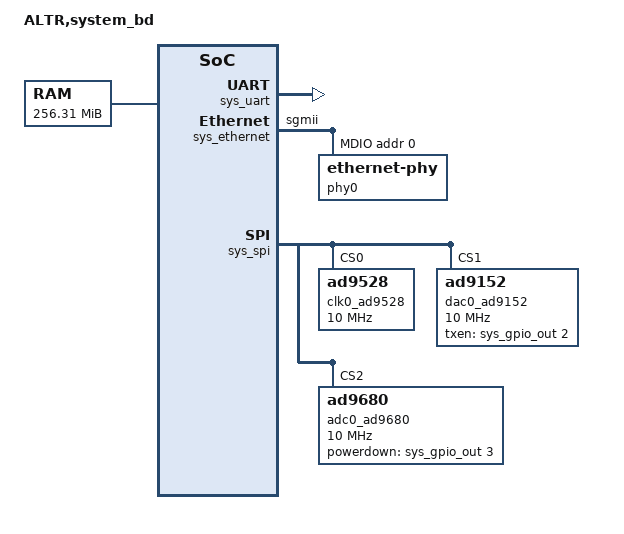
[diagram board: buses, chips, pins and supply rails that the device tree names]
/dts-v1/;

/ {
	model = "ALTR,system_bd";
	compatible = "ALTR,system_bd";
	#address-cells = <1>;
	#size-cells = <1>;

	cpus {
		#address-cells = <1>;
		#size-cells = <0>;

		sys_cpu: cpu@0x0 {
			device_type = "cpu";
			compatible = "altr,nios2-16.0", "altr,nios2-1.1";
			reg = <0x00000000>;
			interrupt-controller;
			#interrupt-cells = <1>;
			altr,exception-addr = <3221225504>;
			altr,fast-tlb-miss-addr = <3491762176>;
			altr,has-initda = <1>;
			altr,has-mmu = <1>;
			altr,has-mul = <1>;
			altr,implementation = "fast";
			altr,pid-num-bits = <8>;
			altr,reset-addr = <3221225472>;
			altr,tlb-num-entries = <128>;
			altr,tlb-num-ways = <16>;
			altr,tlb-ptr-sz = <7>;
			clock-frequency = <100000000>;
			dcache-line-size = <32>;
			dcache-size = <32768>;
			icache-line-size = <32>;
			icache-size = <32768>;
		};
	};

	memory {
		device_type = "memory";
		reg = <0x00000000 0x10000000>,
			<0x10140000 0x00028000>,
			<0x10200000 0x00028000>;
	};

	sopc0: sopc@0 {
		device_type = "soc";
		ranges;
		#address-cells = <1>;
		#size-cells = <1>;
		compatible = "ALTR,avalon", "simple-bus";
		bus-frequency = <100000000>;

		sys_uart: serial@0x101814f0 {
			compatible = "altr,juart-16.0", "altr,juart-1.0";
			reg = <0x101814f0 0x00000008>;
			interrupt-parent = <&sys_cpu>;
			interrupts = <2>;
		};

		sys_ethernet: ethernet@0x10181000 {
			compatible = "altr,tse-msgdma-16.0", "altr,tse-msgdma-1.0", "altr,tse-1.0";
			reg = <0x10181000 0x00000400>,
				<0x101814a0 0x00000020>,
				<0x10181440 0x00000020>,
				<0x101814e0 0x00000008>,
				<0x10181480 0x00000020>,
				<0x10181460 0x00000020>;
			reg-names = "control_port", "rx_csr", "rx_desc", "rx_resp", "tx_csr", "tx_desc";
			interrupt-parent = <&sys_cpu>;
			interrupts = <0 1>;
			interrupt-names = "rx_irq", "tx_irq";
			ALTR,rx-fifo-depth = <4096>;
			ALTR,tx-fifo-depth = <4096>;
			rx-fifo-depth = <16384>;
			tx-fifo-depth = <16384>;
			address-bits = <48>;
			max-frame-size = <1518>;
			local-mac-address = [B2 94 3D 6E 11 8F];
			altr,enable-sup-addr = <0>;
			altr,enable-hash = <0>;
			phy-mode = "sgmii";

			sys_ethernet_mdio: mdio {
				compatible = "altr,tse-mdio";
				#address-cells = <1>;
				#size-cells = <0>;
				phy0: ethernet-phy@0 {
					reg = <0>;
					device_type = "ethernet-phy";
				};
			};
		};

		sys_id: sysid@0x101814e8 {
			compatible = "altr,sysid-16.0", "altr,sysid-1.0";
			reg = <0x101814e8 0x00000008>;
			id = <182193580>;
			timestamp = <1496944369>;
		};

		sys_timer_1: timer@0x10181420 {
			compatible = "altr,timer-16.0", "altr,timer-1.0";
			reg = <0x10181420 0x00000020>;
			interrupt-parent = <&sys_cpu>;
			interrupts = <4>;
			clock-frequency = <100000000>;
		};

		sys_timer_2: timer@0x10181520 {
			compatible = "altr,timer-16.0", "altr,timer-1.0";
			reg = <0x10181520 0x00000020>;
			interrupt-parent = <&sys_cpu>;
			interrupts = <3>;
			clock-frequency = <100000000>;
		};

		sys_gpio_bd: gpio@0x101814d0 {
			compatible = "altr,pio-16.0", "altr,pio-1.0";
			reg = <0x101814d0 0x00000010>;
			interrupt-parent = <&sys_cpu>;
			interrupts = <6>;
			altr,gpio-bank-width = <32>;
			altr,interrupt-type = <4>;
			altr,interrupt_type = <4>;
			level_trigger = <1>;
			resetvalue = <0>;
			#gpio-cells = <2>;
			gpio-controller;
		};

		sys_gpio_in: gpio@0x101814c0 {
			compatible = "altr,pio-16.0", "altr,pio-1.0";
			reg = <0x101814c0 0x00000010>;
			interrupt-parent = <&sys_cpu>;
			interrupts = <5>;
			altr,gpio-bank-width = <32>;
			altr,interrupt-type = <4>;
			altr,interrupt_type = <4>;
			level_trigger = <1>;
			resetvalue = <0>;
			#gpio-cells = <2>;
			gpio-controller;
		};

		sys_gpio_out: gpio@0x10181500 {
			compatible = "altr,pio-16.0", "altr,pio-1.0";
			reg = <0x10181500 0x00000010>;
			altr,gpio-bank-width = <32>;
			resetvalue = <0>;
			#gpio-cells = <2>;
			gpio-controller;
		};

		clocks {
			axi_ad9152_jesd: clock@0 {
				#clock-cells = <0>;
				compatible = "fixed-clock";
				clock-frequency = <1000000000>;
				clock-output-names = "jesd_dac_clk";
			};

			axi_ad9680_jesd: clock@1 {
				#clock-cells = <0>;
				compatible = "fixed-clock";
				clock-frequency = <1000000000>;
				clock-output-names = "jesd_adc_clk";
			};

			axi_dmac0_clkin: clock@2 {
				#clock-cells = <0>;
				compatible = "fixed-clock";
				clock-frequency = <250000000>;
				clock-output-names = "axi_dmac0_clkin";
			};

			axi_dmac1_clkin: clock@3 {
				#clock-cells = <0>;
				compatible = "fixed-clock";
				clock-frequency = <250000000>;
				clock-output-names = "axi_dmac1_clkin";
			};
		};

		axi_ad9152_dma: axi_ad9152_dma@0x1040c000 {
			compatible = "adi,axi-dmac-1.00.a";
			reg = <0x1040c000 0x00004000>;
			interrupt-parent = <&sys_cpu>;
			interrupts = <11>;
			#dma-cells = <1>;
			clocks = <&axi_dmac1_clkin>;
			clock-names = "axi_dmac1_clkin";
			dma-channel {
				adi,source-bus-width = <128>;
				adi,destination-bus-width = <128>;
				adi,type = <1>;
				adi,cyclic;
			};
		};

		axi_ad9152_core: axi-ad9152-hpc@0x10424000 {
			compatible = "adi,axi-ad9144-1.0";
			reg = <0x10424000 0x00010000>;
			dmas = <&axi_ad9152_dma 0>;
			dma-names = "tx";
			spibus-connected = <&dac0_ad9152>;
		};

		axi_ad9680_dma: axi_ad9680_dma@0x1050c000 {
			compatible = "adi,axi-dmac-1.00.a";
			reg = <0x1050c000 0x00004000>;
			interrupt-parent = <&sys_cpu>;
			interrupts = <10>;
			#dma-cells = <1>;
			clocks = <&axi_dmac0_clkin>;
			clock-names = "axi_dmac0_clkin";
			dma-channel {
				adi,source-bus-width = <128>;
				adi,destination-bus-width = <128>;
				adi,type = <0>;
			};
		};

		axi_ad9680_core: axi-ad9680-hpc@0x10520000 {
			compatible = "adi,axi-ad9680-1.0";
			reg = <0x10520000 0x00010000>;
			dmas = <&axi_ad9680_dma 0>;
			dma-names = "rx";
			spibus-connected = <&adc0_ad9680>;
		};


		axi_ad9152_xcvr: axi_ad9152_xcvr@0x10410000 {
			compatible = "adi,altera-adxcvr-1.00.a";
			reg = <0x10410000 0x00010000>,
				<0x10402000 0x00001000>,
				<0x10404000 0x00001000>,
				<0x10405000 0x00001000>,
				<0x10406000 0x00001000>,
				<0x10407000 0x00001000>;
			reg-names = "adxcvr", "atx-pll", "adxcfg-0", "adxcfg-1", "adxcfg-2", "adxcfg-3";
			adi,delay-work-seconds = <1>;
			adi,tx-enable;
			adi,link-number = <0>;
			adi,lanes-per-link = <4>;
		};


		axi_ad9680_xcvr: axi_ad9680_xcvr@0x10510000 {
			compatible = "adi,altera-adxcvr-1.00.a";
			reg = <0x10510000 0x00010000>,
				<0x10504000 0x00001000>,
				<0x10505000 0x00001000>,
				<0x10506000 0x00001000>,
				<0x10507000 0x00001000>;
			reg-names = "adxcvr", "adxcfg-0", "adxcfg-1", "adxcfg-2", "adxcfg-3";
			adi,delay-work-seconds = <1>;
			adi,rx-enable;
			adi,link-number = <0>;
			adi,lanes-per-link = <4>;
		};


		sys_spi: spi@0x10181400 {
			compatible = "altr,spi-16.0", "altr,spi-1.0";
			reg = <0x10181400 0x00000020>;
			interrupt-parent = <&sys_cpu>;
			interrupts = <7>;

			#address-cells = <1>;
			#size-cells = <0>;

			clk0_ad9528: ad9528-1@0 {
				#address-cells = <1>;
				#size-cells = <0>;
				#clock-cells = <1>;
				compatible = "ad9528";

				spi-max-frequency = <10000000>;
				adi,spi-3wire-enable;
				reg = <0>;

				clock-output-names = "ad9528-1_out0", "ad9528-1_out1", "ad9528-1_out2", "ad9528-1_out3", "ad9528-1_out4", "ad9528-1_out5", "ad9528-1_out6", "ad9528-1_out7", "ad9528-1_out8", "ad9528-1_out9", "ad9528-1_out10", "ad9528-1_out11", "ad9528-1_out12", "ad9528-1_out13";
				adi,vcxo-freq = <125000000>;

				/* PLL1 config */
				adi,pll1-bypass-enable;
				adi,osc-in-diff-enable;

				/* PLL2 config for VCO = 4000MHz, N = 32*/
				adi,pll2-ndiv-a-cnt = <0>; /* a = N % 4 */
				adi,pll2-ndiv-b-cnt = <8>; /* b = N / 4 */

				adi,pll2-vco-diff-m1 = <4>;

				adi,pll2-n2-div = <8>; /* N / M1 */
				adi,pll2-r1-div = <1>;

				adi,pll2-charge-pump-current-nA = <35000>;

				/* SYSREF config */
				adi,sysref-src = <2>;
				adi,sysref-k-div = <8>;

				adi,rpole2 = <0>;
				adi,rzero = <7>;
				adi,cpole1 = <2>;

				ad9528_0_c13: channel@13 {
					reg = <13>;
					adi,extended-name = "ADC_CLK";
					adi,driver-mode = <0>;
					adi,divider-phase = <0>;
					adi,channel-divider = <1>;
					adi,signal-source = <0>;
				};

				ad9528_0_c2: channel@2 {
					reg = <2>;
					adi,extended-name = "DAC_CLK";
					adi,driver-mode = <0>;
					adi,divider-phase = <0>;
					adi,channel-divider = <1>;
					adi,signal-source = <0>;
				};

				ad9528_0_c4: channel@4 {
					reg = <4>;
					adi,extended-name = "ADC_CLK_FMC";
					adi,driver-mode = <0>;
					adi,divider-phase = <0>;
					adi,channel-divider = <2>;
					adi,signal-source = <0>;
				};

				ad9528_0_c5: channel@5 {
					reg = <5>;
					adi,extended-name = "ADC_SYSREF";
					adi,driver-mode = <0>;
					adi,divider-phase = <0>;
					adi,channel-divider = <1>;
					adi,signal-source = <2>;
				};

				ad9528_0_c6: channel@6 {
					reg = <6>;
					adi,extended-name = "CLKD_ADC_SYSREF";
					adi,driver-mode = <0>;
					adi,divider-phase = <0>;
					adi,channel-divider = <2>;
					adi,signal-source = <2>;
				};

				ad9528_0_c7: channel@7 {
					reg = <7>;
					adi,extended-name = "CLKD_DAC_SYSREF";
					adi,driver-mode = <0>;
					adi,divider-phase = <0>;
					adi,channel-divider = <2>;
					adi,signal-source = <2>;
				};

				ad9528_0_c8: channel@8 {
					reg = <8>;
					adi,extended-name = "DAC_SYSREF";
					adi,driver-mode = <0>;
					adi,divider-phase = <0>;
					adi,channel-divider = <1>;
					adi,signal-source = <2>;
				};

				ad9528_0_c9: channel@9 {
					reg = <9>;
					adi,extended-name = "DAC_CLK_FMC";
					adi,driver-mode = <0>;
					adi,divider-phase = <0>;
					adi,channel-divider = <2>;
					adi,signal-source = <0>;
				};
			};

			dac0_ad9152: ad9152@1 {
				#address-cells = <1>;
				#size-cells = <0>;
				compatible = "ad9152";

				spi-max-frequency = <10000000>;
				adi,spi-3wire-enable;
				reg = <1>;

				clocks = <&axi_ad9152_jesd>, <&clk0_ad9528 2>, <&clk0_ad9528 8>;
				clock-names = "jesd_dac_clk", "dac_clk", "dac_sysref";

				adi,jesd-xbar-lane0-sel = <0>;
				adi,jesd-xbar-lane1-sel = <3>;
				adi,jesd-xbar-lane2-sel = <1>;
				adi,jesd-xbar-lane3-sel = <2>;

				txen-gpios = <&sys_gpio_out 2 0>;
			};

			adc0_ad9680: ad9680@2 {
				#address-cells = <1>;
				#size-cells = <0>;
				compatible = "ad9680";

				spi-max-frequency = <10000000>;
				adi,spi-3wire-enable;
				reg = <2>;

				/* Content of Registers: 0x16, 0x18, 0x19, 0x1A, 0x30, 0x11A, 0x934, 0x935 */
				adi,sfdr-optimization-config = <0xE 0xA0 0x50 0x09 0x18 0x00 0x1F 0x04>;

				clocks = <&axi_ad9680_jesd>, <&clk0_ad9528 13>, <&clk0_ad9528 5>;
				clock-names = "jesd_adc_clk", "adc_clk", "adc_sysref";

				powerdown-gpios = <&sys_gpio_out 3 0>;
			};
		};
	};

	chosen {
		bootargs = "debug console=ttyJ0,115200";
	};
};
